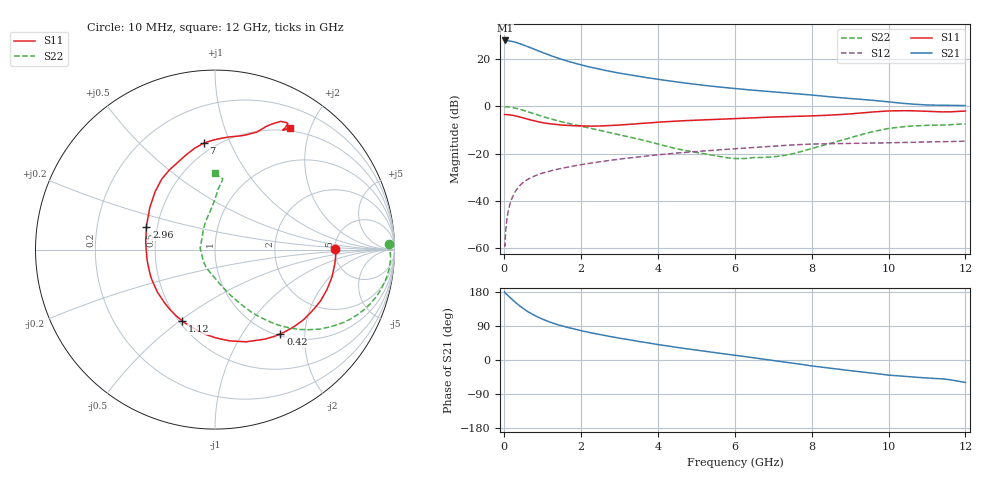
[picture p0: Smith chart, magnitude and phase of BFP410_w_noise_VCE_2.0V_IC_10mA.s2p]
! Infineon Technologies  Discrete & RF Semiconductors
! BFP410
! VCE =  2.0 V,  IC =  10 mA
! Common Emitter S-Parameters:  Nov 2015
# GHz  S  MA  R  50
!  f  S11  S21  S12  S22
! GHz  MAG  ANG  MAG  ANG  MAG  ANG  MAG  ANG
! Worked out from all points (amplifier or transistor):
!   243 points, 10 MHz to 12 GHz, reference 50 ohm
!   highest |S21| = 27.9 dB at 20 MHz (marker M1)
!   |S21| within 3 dB of that: start of sweep to 669.9 MHz
!   unconditionally stable (mu >= 1): 2.394 GHz to end of sweep
!   at 240 MHz: K = 0.16, MSG = 32.4 dB, |S12| = -37.5 dB
!   at 1.84 GHz: K = 0.85, MSG = 21.7 dB, |S12| = -25.1 dB
!   at 12 GHz: K = 1.04, MAG = 6.3 dB, |S12| = -14.7 dB
!   lowest NFmin = 1.28 dB at 900 MHz
!   S11 on the Smith chart (normalised r, x): 10 MHz: 5.07, +0.11; 420 MHz: 1.04, -1.50; 1.12 GHz: 0.52, -0.51; 2.96 GHz: 0.44, +0.13; 7 GHz: 0.43, +0.80; 12 GHz: 0.45, +1.70
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0.01  0.6705 0.5  24.89 179.3  0.0012 131.4  0.9708 1.9
0.02  0.6738 -2.3  24.91 177.6  0.0012 92.7  0.9752 -0.6
0.1  0.6696 -13.0  24.57 170.0  0.0058 85.0  0.9762 -6.4
0.22  0.6481 -28.3  23.56 158.5  0.0123 77.6  0.9461 -14.3
0.32  0.623 -40.6  22.46 149.6  0.0173 72.7  0.9078 -20.3
0.42  0.5938 -52.2  21.11 141.5  0.0217 68.3  0.863 -25.5
0.5  0.5705 -61.0  20.01 135.4  0.0249 65.4  0.8251 -29.4
0.6  0.5423 -71.3  18.58 128.4  0.0282 62.2  0.7771 -33.5
0.8  0.4917 -89.6  15.96 117.0  0.034 57.3  0.6887 -40.4
1  0.4533 -106.2  13.78 107.5  0.0389 54.0  0.6113 -45.8
1.12  0.4368 -114.8  12.66 102.8  0.0414 52.6  0.5721 -48.4
1.3  0.4182 -126.7  11.21 96.2  0.0451 50.7  0.5201 -51.8
1.52  0.4019 -139.2  9.786 89.5  0.0494 49.2  0.4677 -55.2
2.02  0.3841 -163.3  7.508 77.0  0.0588 46.2  0.379 -61.3
2.42  0.3839 -179.9  6.291 68.4  0.066 43.8  0.3202 -66.0
2.96  0.402 161.8  5.129 58.3  0.0759 40.4  0.2542 -72.8
4.1  0.469 134.0  3.647 39.3  0.0963 32.7  0.1525 -92.2
6.1  0.5555 106.0  2.348 11.2  0.1284 17.7  0.0785 -165.8
7  0.5971 95.9  2.033 -1.2  0.1441 10.5  0.0857 155.6
8.2  0.6391 80.4  1.679 -18.1  0.1608 -2.2  0.1428 114.9
10.2  0.8074 61.7  1.2 -41.5  0.1712 -17.7  0.3568 85.7
12  0.7981 58.3  1.042 -59.2  0.1841 -32.6  0.4286 90.1
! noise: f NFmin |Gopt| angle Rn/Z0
0.45  1.31  0.05  -19  0.16
0.9  1.28  0.04  1  0.16
1.8  1.42  0.03  -159  0.16
2.4  1.4  0.09  -121  0.17
5.5  2.27  0.35  -113  0.27
10  3.42  0.67  -49  1.87
